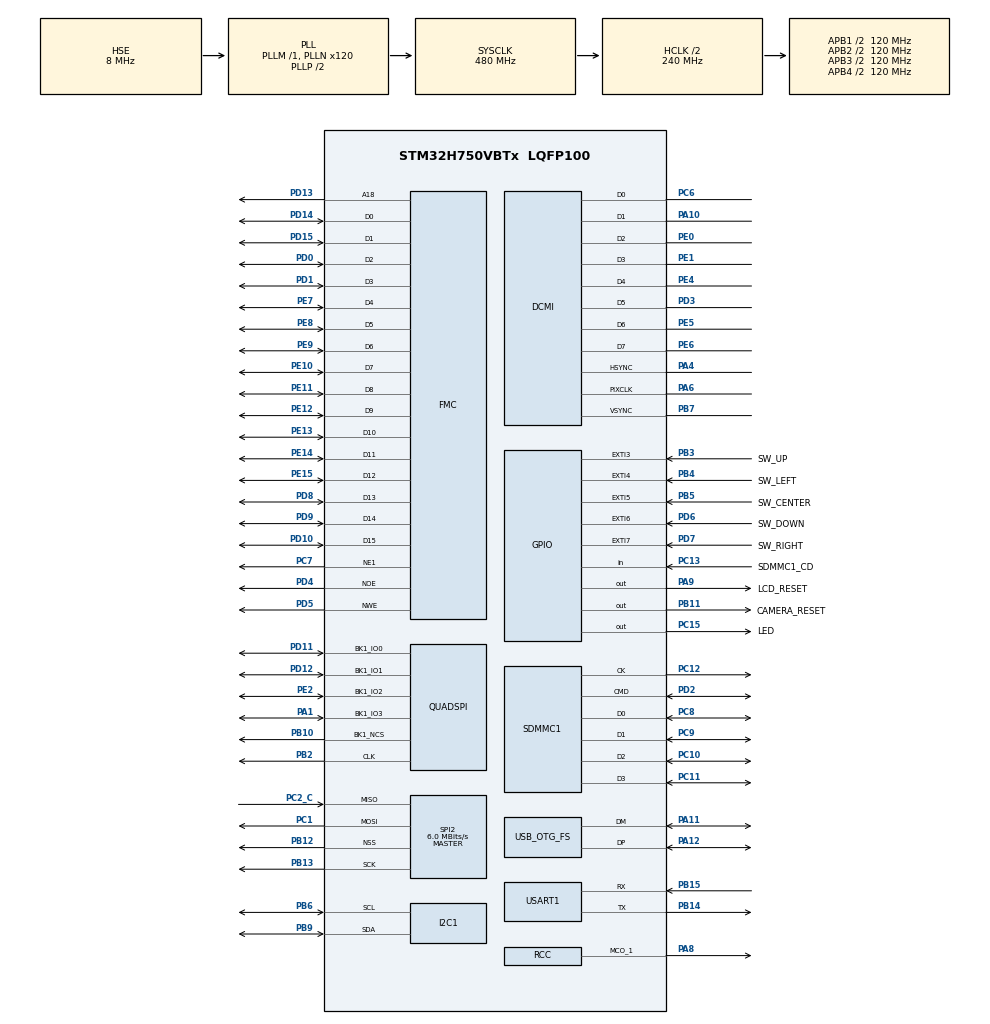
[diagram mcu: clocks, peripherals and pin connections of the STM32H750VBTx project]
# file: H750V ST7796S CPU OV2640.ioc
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DCMI.HSPolarity=DCMI_HSPOLARITY_LOW
DCMI.PCKPolarity=DCMI_PCKPOLARITY_RISING
DCMI.VSPolarity=DCMI_VSPOLARITY_LOW
Dma.DCMI.0.Direction=DMA_PERIPH_TO_MEMORY
Dma.DCMI.0.EventEnable=DISABLE
Dma.DCMI.0.FIFOMode=DMA_FIFOMODE_ENABLE
Dma.DCMI.0.FIFOThreshold=DMA_FIFO_THRESHOLD_FULL
Dma.DCMI.0.Instance=DMA2_Stream1
Dma.DCMI.0.MemBurst=DMA_MBURST_SINGLE
Dma.DCMI.0.MemDataAlignment=DMA_MDATAALIGN_WORD
Dma.DCMI.0.MemInc=DMA_MINC_ENABLE
Dma.DCMI.0.Mode=DMA_CIRCULAR
Dma.DCMI.0.PeriphBurst=DMA_PBURST_SINGLE
Dma.DCMI.0.PeriphDataAlignment=DMA_PDATAALIGN_WORD
Dma.DCMI.0.PeriphInc=DMA_PINC_DISABLE
Dma.DCMI.0.Polarity=HAL_DMAMUX_REQ_GEN_RISING
Dma.DCMI.0.Priority=DMA_PRIORITY_LOW
Dma.DCMI.0.RequestNumber=1
Dma.DCMI.0.SignalID=NONE
Dma.DCMI.0.SyncEnable=DISABLE
Dma.DCMI.0.SyncPolarity=HAL_DMAMUX_SYNC_NO_EVENT
Dma.DCMI.0.SyncRequestNumber=1
Dma.DCMI.0.SyncSignalID=NONE
Dma.MEMTOMEM.1.Direction=DMA_MEMORY_TO_MEMORY
Dma.MEMTOMEM.1.EventEnable=DISABLE
Dma.MEMTOMEM.1.FIFOMode=DMA_FIFOMODE_ENABLE
Dma.MEMTOMEM.1.FIFOThreshold=DMA_FIFO_THRESHOLD_FULL
Dma.MEMTOMEM.1.Instance=DMA1_Stream0
Dma.MEMTOMEM.1.MemBurst=DMA_MBURST_SINGLE
Dma.MEMTOMEM.1.MemDataAlignment=DMA_MDATAALIGN_HALFWORD
Dma.MEMTOMEM.1.MemInc=DMA_MINC_DISABLE
Dma.MEMTOMEM.1.Mode=DMA_NORMAL
Dma.MEMTOMEM.1.PeriphBurst=DMA_PBURST_SINGLE
Dma.MEMTOMEM.1.PeriphDataAlignment=DMA_PDATAALIGN_HALFWORD
Dma.MEMTOMEM.1.PeriphInc=DMA_PINC_ENABLE
Dma.MEMTOMEM.1.Polarity=HAL_DMAMUX_REQ_GEN_RISING
Dma.MEMTOMEM.1.Priority=DMA_PRIORITY_LOW
Dma.MEMTOMEM.1.RequestNumber=1
Dma.MEMTOMEM.1.SignalID=NONE
Dma.MEMTOMEM.1.SyncEnable=DISABLE
Dma.MEMTOMEM.1.SyncPolarity=HAL_DMAMUX_SYNC_NO_EVENT
Dma.MEMTOMEM.1.SyncRequestNumber=1
Dma.MEMTOMEM.1.SyncSignalID=NONE
Dma.Request0=DCMI
Dma.Request1=MEMTOMEM
FMC.AddressSetupTime1=10
FMC.BankMapConfig=FMC_SWAPBMAP_SDRAM_SRAM
FMC.BusTurnAroundDuration1=10
FMC.DataSetupTime1=10
FMC.ExtendedAddressSetupTime1=2
FMC.ExtendedBusTurnAroundDuration1=2
FMC.ExtendedDataSetupTime1=2
FMC.ExtendedMode1=FMC_EXTENDED_MODE_ENABLE
I2C1.Timing=0x307075B1
Mcu.Family=STM32H7
Mcu.Name=STM32H750VBTx
Mcu.Package=LQFP100
NVIC.DCMI_IRQn=true\:0\:0\:false\:false\:true\:true\:true
NVIC.DMA1_Stream0_IRQn=true\:0\:0\:false\:false\:true\:true\:true
NVIC.DMA2_Stream1_IRQn=true\:0\:0\:false\:false\:true\:false\:true
NVIC.EXTI3_IRQn=true\:0\:0\:false\:false\:true\:true\:true
NVIC.EXTI4_IRQn=true\:0\:0\:false\:false\:true\:true\:true
NVIC.EXTI9_5_IRQn=true\:0\:0\:false\:false\:true\:true\:true
NVIC.PriorityGroup=NVIC_PRIORITYGROUP_4
PA1.Mode=Single Bank 1
PA1.Signal=QUADSPI_BK1_IO3
PA10.Mode=Slave_8_bits_External_Synchro
PA10.Signal=DCMI_D1
PA11.Mode=Device_Only
PA11.Signal=USB_OTG_FS_DM
PA12.Mode=Device_Only
PA12.Signal=USB_OTG_FS_DP
PA13\ (JTMS/SWDIO).Mode=Serial_Wire
PA13\ (JTMS/SWDIO).Signal=DEBUG_JTMS-SWDIO
PA14\ (JTCK/SWCLK).Mode=Serial_Wire
PA14\ (JTCK/SWCLK).Signal=DEBUG_JTCK-SWCLK
PA4.Mode=Slave_8_bits_External_Synchro
PA4.Signal=DCMI_HSYNC
PA6.Mode=Slave_8_bits_External_Synchro
PA6.Signal=DCMI_PIXCLK
PA8.Mode=Clock-out-1
PA8.Signal=RCC_MCO_1
PA9.GPIO_Label=LCD_RESET
PA9.PinState=GPIO_PIN_SET
PA9.Signal=GPIO_Output
PB10.Mode=Single Bank 1
PB10.Signal=QUADSPI_BK1_NCS
PB11.GPIO_Label=CAMERA_RESET
PB11.PinState=GPIO_PIN_SET
PB11.Signal=GPIO_Output
PB12.Mode=NSS_Signal_Hard_Output
PB12.Signal=SPI2_NSS
PB13.Mode=Full_Duplex_Master
PB13.Signal=SPI2_SCK
PB14.Mode=Asynchronous
PB14.Signal=USART1_TX
PB15.Mode=Asynchronous
PB15.Signal=USART1_RX
PB2.Mode=Single Bank 1
PB2.Signal=QUADSPI_CLK
PB3\ (JTDO/TRACESWO).GPIO_Label=SW_UP
PB3\ (JTDO/TRACESWO).GPIO_ModeDefaultEXTI=GPIO_MODE_IT_FALLING
PB3\ (JTDO/TRACESWO).GPIO_PuPd=GPIO_PULLUP
PB3\ (JTDO/TRACESWO).Signal=GPXTI3
PB4\ (NJTRST).GPIO_Label=SW_LEFT
PB4\ (NJTRST).GPIO_ModeDefaultEXTI=GPIO_MODE_IT_FALLING
PB4\ (NJTRST).GPIO_PuPd=GPIO_PULLUP
PB4\ (NJTRST).Signal=GPXTI4
PB5.GPIO_Label=SW_CENTER
PB5.GPIO_ModeDefaultEXTI=GPIO_MODE_IT_FALLING
PB5.GPIO_PuPd=GPIO_PULLUP
PB5.Signal=GPXTI5
PB6.Mode=I2C
PB6.Signal=I2C1_SCL
PB7.Mode=Slave_8_bits_External_Synchro
PB7.Signal=DCMI_VSYNC
PB9.Mode=I2C
PB9.Signal=I2C1_SDA
PC1.Mode=Full_Duplex_Master
PC1.Signal=SPI2_MOSI
PC10.Mode=SD_4_bits_Wide_bus
PC10.Signal=SDMMC1_D2
PC11.Mode=SD_4_bits_Wide_bus
PC11.Signal=SDMMC1_D3
PC12.Mode=SD_4_bits_Wide_bus
PC12.Signal=SDMMC1_CK
PC13.GPIO_Label=SDMMC1_CD
PC13.Signal=GPIO_Input
PC15-OSC32_OUT\ (OSC32_OUT).GPIO_Label=LED
PC15-OSC32_OUT\ (OSC32_OUT).Signal=GPIO_Output
PC2_C.Mode=Full_Duplex_Master
PC2_C.Signal=SPI2_MISO
PC6.Mode=Slave_8_bits_External_Synchro
PC6.Signal=DCMI_D0
PC7.Mode=NorPsramChipSelect1_1
PC7.Signal=FMC_NE1
PC8.Mode=SD_4_bits_Wide_bus
PC8.Signal=SDMMC1_D0
PC9.Mode=SD_4_bits_Wide_bus
PC9.Signal=SDMMC1_D1
PD0.Signal=FMC_D2_DA2
PD1.Signal=FMC_D3_DA3
PD10.Signal=FMC_D15_DA15
PD11.Mode=Single Bank 1
PD11.Signal=QUADSPI_BK1_IO0
PD12.Mode=Single Bank 1
PD12.Signal=QUADSPI_BK1_IO1
PD13.Signal=FMC_A18
PD14.Signal=FMC_D0_DA0
PD15.Signal=FMC_D1_DA1
PD2.Mode=SD_4_bits_Wide_bus
PD2.Signal=SDMMC1_CMD
PD3.Mode=Slave_8_bits_External_Synchro
PD3.Signal=DCMI_D5
PD4.Signal=FMC_NOE
PD5.Signal=FMC_NWE
PD6.GPIO_Label=SW_DOWN
PD6.GPIO_ModeDefaultEXTI=GPIO_MODE_IT_FALLING
PD6.GPIO_PuPd=GPIO_PULLUP
PD6.Signal=GPXTI6
PD7.GPIO_Label=SW_RIGHT
PD7.GPIO_ModeDefaultEXTI=GPIO_MODE_IT_FALLING
PD7.GPIO_PuPd=GPIO_PULLUP
PD7.Signal=GPXTI7
PD8.Signal=FMC_D13_DA13
PD9.Signal=FMC_D14_DA14
PE0.Mode=Slave_8_bits_External_Synchro
PE0.Signal=DCMI_D2
PE1.Mode=Slave_8_bits_External_Synchro
PE1.Signal=DCMI_D3
PE10.Signal=FMC_D7_DA7
PE11.Signal=FMC_D8_DA8
PE12.Signal=FMC_D9_DA9
PE13.Signal=FMC_D10_DA10
PE14.Signal=FMC_D11_DA11
PE15.Signal=FMC_D12_DA12
PE2.Mode=Single Bank 1
PE2.Signal=QUADSPI_BK1_IO2
PE4.Mode=Slave_8_bits_External_Synchro
PE4.Signal=DCMI_D4
PE5.Mode=Slave_8_bits_External_Synchro
PE5.Signal=DCMI_D6
PE6.Mode=Slave_8_bits_External_Synchro
PE6.Signal=DCMI_D7
PE7.Signal=FMC_D4_DA4
PE8.Signal=FMC_D5_DA5
PE9.Signal=FMC_D6_DA6
PH0-OSC_IN\ (PH0).Mode=HSE-External-Oscillator
PH0-OSC_IN\ (PH0).Signal=RCC_OSC_IN
PH1-OSC_OUT\ (PH1).Mode=HSE-External-Oscillator
PH1-OSC_OUT\ (PH1).Signal=RCC_OSC_OUT
ProjectManager.HeapSize=0x200
ProjectManager.StackSize=0x400
ProjectManager.TargetToolchain=STM32CubeIDE
RCC.ADCFreq_Value=120000000
RCC.APB1Freq_Value=120000000
RCC.APB2Freq_Value=120000000
RCC.APB3Freq_Value=120000000
RCC.APB4Freq_Value=120000000
RCC.CortexFreq_Value=480000000
RCC.D1PPRE=RCC_APB3_DIV2
RCC.D2PPRE1=RCC_APB1_DIV2
RCC.D2PPRE2=RCC_APB2_DIV2
RCC.D3PPRE=RCC_APB4_DIV2
RCC.DIVM1=1
RCC.DIVM2=1
RCC.DIVN1=120
RCC.DIVN2=30
RCC.DIVQ1=20
RCC.DIVR2=10
RCC.HCLKFreq_Value=240000000
RCC.HPRE=RCC_HCLK_DIV2
RCC.HSE_VALUE=8000000
RCC.PLL2FRACN=0
RCC.PLLFRACN=0
RCC.QSPICLockSelection=RCC_QSPICLKSOURCE_PLL2
RCC.RCC_MCO1Source=RCC_MCO1SOURCE_PLL1QCLK
RCC.RCC_MCODiv1=RCC_MCODIV_2
RCC.SDMMC1CLockSelection=RCC_SDMMCCLKSOURCE_PLL2
RCC.SYSCLKFreq_VALUE=480000000
RCC.SYSCLKSource=RCC_SYSCLKSOURCE_PLLCLK
RCC.USBFreq_Value=48000000
SH.FMC_A18.0=FMC_A18,A18_1
SH.FMC_D0_DA0.0=FMC_D0,16b-d1
SH.FMC_D10_DA10.0=FMC_D10,16b-d1
SH.FMC_D11_DA11.0=FMC_D11,16b-d1
SH.FMC_D12_DA12.0=FMC_D12,16b-d1
SH.FMC_D13_DA13.0=FMC_D13,16b-d1
SH.FMC_D14_DA14.0=FMC_D14,16b-d1
SH.FMC_D15_DA15.0=FMC_D15,16b-d1
SH.FMC_D1_DA1.0=FMC_D1,16b-d1
SH.FMC_D2_DA2.0=FMC_D2,16b-d1
SH.FMC_D3_DA3.0=FMC_D3,16b-d1
SH.FMC_D4_DA4.0=FMC_D4,16b-d1
SH.FMC_D5_DA5.0=FMC_D5,16b-d1
SH.FMC_D6_DA6.0=FMC_D6,16b-d1
SH.FMC_D7_DA7.0=FMC_D7,16b-d1
SH.FMC_D8_DA8.0=FMC_D8,16b-d1
SH.FMC_D9_DA9.0=FMC_D9,16b-d1
SH.FMC_NOE.0=FMC_NOE,Lcd1
SH.FMC_NWE.0=FMC_NWE,Lcd1
SPI2.BaudRatePrescaler=SPI_BAUDRATEPRESCALER_8
SPI2.CalculateBaudRate=6.0 MBits/s
SPI2.DataSize=SPI_DATASIZE_8BIT
SPI2.Direction=SPI_DIRECTION_2LINES
SPI2.Mode=SPI_MODE_MASTER
SPI2.VirtualNSS=VM_NSSHARD
SPI2.VirtualType=VM_MASTER
USART1.VirtualMode-Asynchronous=VM_ASYNC
USB_OTG_FS.VirtualMode=Device_Only
board=custom

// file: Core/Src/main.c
/* USER CODE BEGIN Header */
/**
  ******************************************************************************
  * @file           : main.c
  * @brief          : Main program body
  ******************************************************************************
  * @attention
  *
  * <h2><center>&copy; Copyright (c) 2020 STMicroelectronics.
  * All rights reserved.</center></h2>
  *
  * This software component is licensed by ST under BSD 3-Clause license,
  * the "License"; You may not use this file except in compliance with the
  * License. You may obtain a copy of the License at:
  *                        opensource.org/licenses/BSD-3-Clause
  *
  ******************************************************************************
  */
/* USER CODE END Header */

#include "main.h"
#include "dcmi.h"
#include "dma.h"
#include "i2c.h"
#include "quadspi.h"
#include "sdmmc.h"
#include "spi.h"
#include "usart.h"
#include "usb_otg.h"
#include "gpio.h"
#include "fmc.h"

/* USER CODE BEGIN Includes */
#include "H750 ST7796S CPU.h"
#include "ov2640.h"

/* USER CODE END Includes */

/* USER CODE BEGIN PV */
/* DMA로 이미지(FrameBuffer)를 LCD로 보낼 때는 480x320=153,600으로 64K가 넘으므로
 * 한 번에 보낼 수 없다.  따라서 DCMI에서 한 프레임이 전달되었을 때 보낼 수 있는
 * 480x136(=65,280)만큼 2번을 보내고 나머지 480x48(=23,040)을 보낸다.
 * 즉, 전체를 3부분으로 나누어 보내기로 한다.
 */

uint16_t FrameBuffer[480 * 320];	// 카메라에서 보내온 영상이 담길 프레임 버퍼
uint32_t RemaindImage1 = (uint32_t)FrameBuffer + (480 * 136) * 2; //  2번째 보낼 선두 위치. RGB565 2Byte이므로 곱하기 2
uint32_t RemaindImage2 = (uint32_t)FrameBuffer + (480 * 136 * 2) * 2;	// 3번째 보낼 선두 위치
uint32_t Remainder = 0;						// 3번 나누어 보내는 영상의 어느 부분인지 표시
uint32_t CameraInit = 0;					// 카메라가 초기화 되었슴.
uint32_t UpdateCameraFrame = 0;		// 카메라에서 한 프레임을 보내 왔슴.

/* USER CODE END PV */

void SystemClock_Config(void);
/* USER CODE BEGIN PFP */
// LCD로 보낼 DMA의 완료 콜백함수로 등록할 것이다.
static void TransferComplete(DMA_HandleTypeDef *hdma_memtomem_dma1_stream0);

/* USER CODE END PFP */

/* USER CODE BEGIN 0 */
void HAL_SYSTICK_Callback(void)
{
	static int cnt = -1000;

	cnt++;
	if(cnt > 500)
	{
		cnt = 0;

		//if(CameraInit) ov7670_startCap(OV7670_CAP_SINGLE_FRAME, (uint32_t)FrameBuffer);

		HAL_GPIO_TogglePin(LED_GPIO_Port, LED_Pin);		// 메인보드의 LED를 점멸하여 동작중임을 표시하자.
	}
}
/* USER CODE END 0 */

int main(void)
{

  /* MCU Configuration--------------------------------------------------------*/

  /* Reset of all peripherals, Initializes the Flash interface and the Systick. */
  HAL_Init();

  /* Configure the system clock */
  SystemClock_Config();

  /* Initialize all configured peripherals */
  MX_GPIO_Init();
  MX_DMA_Init();
  MX_QUADSPI_Init();
  MX_SDMMC1_SD_Init();
  MX_USART1_UART_Init();
  MX_USB_OTG_FS_PCD_Init();
  MX_DCMI_Init();
  MX_FMC_Init();
  MX_I2C1_Init();
  MX_SPI2_Init();
  /* USER CODE BEGIN 2 */
  LCD_Init();

  volatile uint32_t id = LCD_Read_ID();
  (void)id;		// 컴파일러 경고를 없애기 위해

  LCD_Direction(1);
  LCD_Clear(RED);
  HAL_Delay(500);
  LCD_Clear(GREEN);
  HAL_Delay(500);
  LCD_Clear(BLUE);
  HAL_Delay(500);

  volatile uint32_t idc = ov2640_ReadID(CAMERA_I2C_ADDRESS);
  (void)idc;

//  ov2640_Init(CAMERA_I2C_ADDRESS, CAMERA_R480x272);
  ov2640_Init(CAMERA_I2C_ADDRESS, CAMERA_R480x320);
//  ov2640_Config(CAMERA_I2C_ADDRESS, uint32_t feature, uint32_t value, uint32_t brightness_value)

  CameraInit = 1;
	UpdateCameraFrame = 0;

	// DMA로 이미지를 LCD에 전송할 때, 3개로 나눈 다음 부분을 보내기 위해 CPTL 콜백함수 등록
  HAL_DMA_RegisterCallback(&hdma_memtomem_dma1_stream0, HAL_DMA_XFER_CPLT_CB_ID, TransferComplete);

  // 디지칼 카메라 전송 시작. DCMI의 DMA Mode를 Circula로 하여 계속 이미지를 읽어오게 하였다.
	HAL_DCMI_Start_DMA(&hdcmi, DCMI_MODE_CONTINUOUS, (uint32_t)(&FrameBuffer), (480 * 320) / 2);

  /* USER CODE END 2 */

  /* Infinite loop */
  /* USER CODE BEGIN WHILE */

	// LCD_puts14x24(10, 320 - 25, (uint8_t *)"Camera Test ...", TFT_STRING_MODE_BACKGROUND);
  while (1)
  {
  	if(UpdateCameraFrame)		// 디지탈 카메라로부터 1프레임 들어왔슴.
  	{
  		UpdateCameraFrame = 0;

  		//LCD_puts_image_RGB565((const uint16_t *)FrameBuffer);				// 그냥 전송
  		LCD_puts_image_RGB565_DMA((const uint16_t *)FrameBuffer);			// DMA 전송
  		Remainder = 2;	// 첫번째 부분을 LCD로 보냈음을 표시. 나머지는 앞서 등록한 콜백함수에서 처리할 것임.
  	}

    /* USER CODE END WHILE */

  }
}

void SystemClock_Config(void)
{
  RCC_OscInitTypeDef RCC_OscInitStruct = {0};
  RCC_ClkInitTypeDef RCC_ClkInitStruct = {0};
  RCC_PeriphCLKInitTypeDef PeriphClkInitStruct = {0};

  /** Supply configuration update enable
  */
  HAL_PWREx_ConfigSupply(PWR_LDO_SUPPLY);
  /** Configure the main internal regulator output voltage
  */
  __HAL_PWR_VOLTAGESCALING_CONFIG(PWR_REGULATOR_VOLTAGE_SCALE0);

  while(!__HAL_PWR_GET_FLAG(PWR_FLAG_VOSRDY)) {}
  /** Macro to configure the PLL clock source
  */
  __HAL_RCC_PLL_PLLSOURCE_CONFIG(RCC_PLLSOURCE_HSE);
  /** Initializes the CPU, AHB and APB busses clocks
  */
  RCC_OscInitStruct.OscillatorType = RCC_OSCILLATORTYPE_HSE;
  RCC_OscInitStruct.HSEState = RCC_HSE_ON;
  RCC_OscInitStruct.PLL.PLLState = RCC_PLL_ON;
  RCC_OscInitStruct.PLL.PLLSource = RCC_PLLSOURCE_HSE;
  RCC_OscInitStruct.PLL.PLLM = 1;
  RCC_OscInitStruct.PLL.PLLN = 120;
  RCC_OscInitStruct.PLL.PLLP = 2;
  RCC_OscInitStruct.PLL.PLLQ = 20;
  RCC_OscInitStruct.PLL.PLLR = 2;
  RCC_OscInitStruct.PLL.PLLRGE = RCC_PLL1VCIRANGE_3;
  RCC_OscInitStruct.PLL.PLLVCOSEL = RCC_PLL1VCOWIDE;
  RCC_OscInitStruct.PLL.PLLFRACN = 0;
  if (HAL_RCC_OscConfig(&RCC_OscInitStruct) != HAL_OK)
  {
    Error_Handler();
  }
  /** Initializes the CPU, AHB and APB busses clocks
  */
  RCC_ClkInitStruct.ClockType = RCC_CLOCKTYPE_HCLK|RCC_CLOCKTYPE_SYSCLK
                              |RCC_CLOCKTYPE_PCLK1|RCC_CLOCKTYPE_PCLK2
                              |RCC_CLOCKTYPE_D3PCLK1|RCC_CLOCKTYPE_D1PCLK1;
  RCC_ClkInitStruct.SYSCLKSource = RCC_SYSCLKSOURCE_PLLCLK;
  RCC_ClkInitStruct.SYSCLKDivider = RCC_SYSCLK_DIV1;
  RCC_ClkInitStruct.AHBCLKDivider = RCC_HCLK_DIV2;
  RCC_ClkInitStruct.APB3CLKDivider = RCC_APB3_DIV2;
  RCC_ClkInitStruct.APB1CLKDivider = RCC_APB1_DIV2;
  RCC_ClkInitStruct.APB2CLKDivider = RCC_APB2_DIV2;
  RCC_ClkInitStruct.APB4CLKDivider = RCC_APB4_DIV2;

  if (HAL_RCC_ClockConfig(&RCC_ClkInitStruct, FLASH_LATENCY_4) != HAL_OK)
  {
    Error_Handler();
  }
  PeriphClkInitStruct.PeriphClockSelection = RCC_PERIPHCLK_USART1|RCC_PERIPHCLK_SPI2
                              |RCC_PERIPHCLK_SDMMC|RCC_PERIPHCLK_I2C1
                              |RCC_PERIPHCLK_USB|RCC_PERIPHCLK_QSPI
                              |RCC_PERIPHCLK_FMC;
  PeriphClkInitStruct.PLL2.PLL2M = 1;
  PeriphClkInitStruct.PLL2.PLL2N = 30;
  PeriphClkInitStruct.PLL2.PLL2P = 2;
  PeriphClkInitStruct.PLL2.PLL2Q = 2;
  PeriphClkInitStruct.PLL2.PLL2R = 10;
  PeriphClkInitStruct.PLL2.PLL2RGE = RCC_PLL2VCIRANGE_3;
  PeriphClkInitStruct.PLL2.PLL2VCOSEL = RCC_PLL2VCOWIDE;
  PeriphClkInitStruct.PLL2.PLL2FRACN = 0;
  PeriphClkInitStruct.FmcClockSelection = RCC_FMCCLKSOURCE_D1HCLK;
  PeriphClkInitStruct.QspiClockSelection = RCC_QSPICLKSOURCE_PLL2;
  PeriphClkInitStruct.SdmmcClockSelection = RCC_SDMMCCLKSOURCE_PLL2;
  PeriphClkInitStruct.Spi123ClockSelection = RCC_SPI123CLKSOURCE_PLL;
  PeriphClkInitStruct.Usart16ClockSelection = RCC_USART16CLKSOURCE_D2PCLK2;
  PeriphClkInitStruct.I2c123ClockSelection = RCC_I2C123CLKSOURCE_D2PCLK1;
  PeriphClkInitStruct.UsbClockSelection = RCC_USBCLKSOURCE_PLL;
  if (HAL_RCCEx_PeriphCLKConfig(&PeriphClkInitStruct) != HAL_OK)
  {
    Error_Handler();
  }
  HAL_RCC_MCOConfig(RCC_MCO1, RCC_MCO1SOURCE_PLL1QCLK, RCC_MCODIV_2);
  /** Enable USB Voltage detector
  */
  HAL_PWREx_EnableUSBVoltageDetector();
}

/* USER CODE BEGIN 4 */

// 카메라에서 한 프레임이 모두 전송되었을 때 불려짐
// 여기서 바로 LCD로의 DMA를 시작해도 되지만, 나중에 영상처리 등의 작업등을 생각해서 플래그만 세우고
// 메인루프에서 처리하도록 하자.
void HAL_DCMI_FrameEventCallback(DCMI_HandleTypeDef *hdcmi)
{
  UpdateCameraFrame = 1;
  //HAL_GPIO_TogglePin(LED_GPIO_Port, LED_Pin);
}

// 카메라에서 VSYNC 이벤트가 발생했슴
void HAL_DCMI_VsyncEventCallback(DCMI_HandleTypeDef *hdcmi)
{
}

// 카메라에서 한 라인이 들어왔슴
void HAL_DCMI_LineEventCallback(DCMI_HandleTypeDef *hdcmi)
{
}

// 프레임 버퍼에서 DMA로 LCD로 전송이 완료되었슴.
// 데이터 수가 480x320=153,600, 즉 64K를 넘으므로 3번에 나누어서 전송해야 함.
// Remainder = 2 일 때가 첫번째 전송 완료이고, Remainder = 1 일 때가 두번째 전송 완료, Remainder = 0 이면 전송 끝.
static void TransferComplete(DMA_HandleTypeDef *hdma_memtomem_dma1_stream0)
{
 	if(Remainder == 2) 			LCD_puts_image_RGB565_DMA_REMAINDER(RemaindImage1, 480 * 136);		// 136 + 136 + 48 = 320
 	else if(Remainder == 1) LCD_puts_image_RGB565_DMA_REMAINDER(RemaindImage2, 480 * 48);
 	Remainder--;
}

// 버튼 스위치가 눌렸슴
void HAL_GPIO_EXTI_Callback(uint16_t GPIO_Pin)
{
	switch(GPIO_Pin)
	{
		case SW_CENTER_Pin:
			break;

		case SW_UP_Pin:
			break;

		case SW_DOWN_Pin:
			break;

		case SW_LEFT_Pin:
			break;

		case SW_RIGHT_Pin:
			break;
	}
}
/* USER CODE END 4 */

void Error_Handler(void)
{
}

/************************ (C) COPYRIGHT STMicroelectronics *****END OF FILE****/
